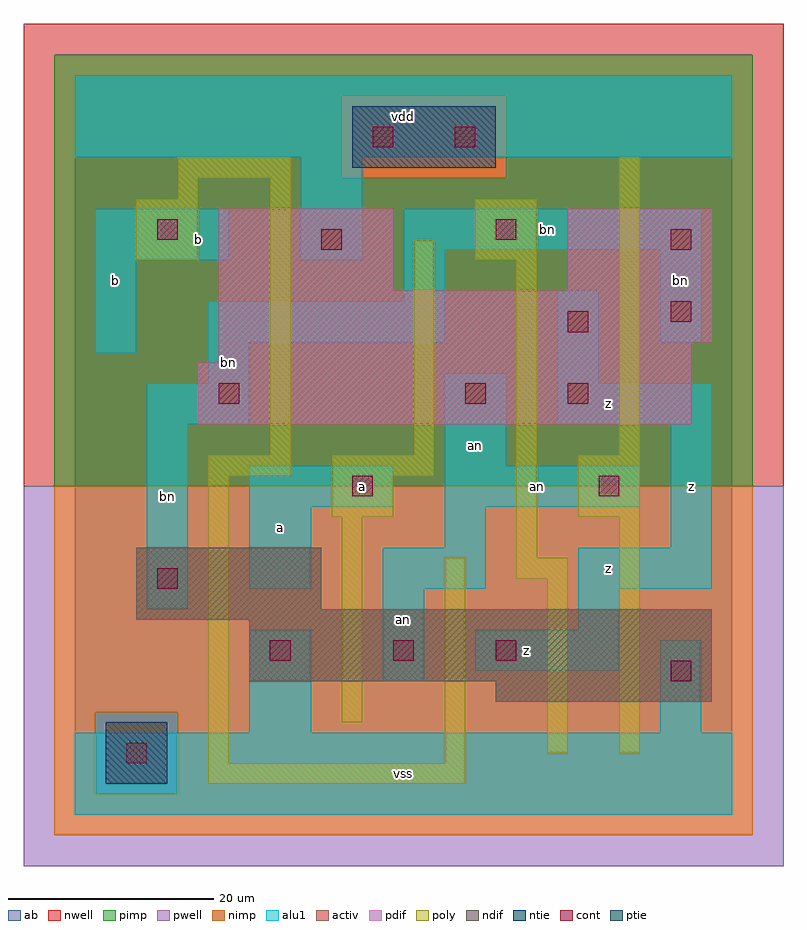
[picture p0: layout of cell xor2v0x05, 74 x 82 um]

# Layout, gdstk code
import gdstk
lib = gdstk.Library(unit=1e-6, precision=1e-09)
def R(c, l, rs):  # rectangles x0, y0, x1, y1
    for r in rs: c.add(gdstk.rectangle(r[:2], r[2:], *l))
ndif = (3, 0)
pdif = (4, 0)
ntie = (5, 0)
ptie = (6, 0)
cont = (25, 0)
pwell = (41, 0)
nwell = (42, 0)
activ = (43, 0)
pimp = (44, 0)
nimp = (45, 0)
poly = (46, 0)
alu1 = (49, 0)
ab = (63, 0)

xor2v0x05 = lib.new_cell('xor2v0x05')
R(xor2v0x05, ndif, [(41,11,62,13), (17,13,62,19), (6,19,62,20), (6,20,24,26)])
R(xor2v0x05, pdif, [(12,38,60,44), (14,44,60,46), (14,46,62,51), (14,51,31,59), (48,51,62,59)])
R(xor2v0x05, ntie, [(27,63,41,69)])
R(xor2v0x05, ptie, [(3,3,9,9)])
R(xor2v0x05, cont, [(5,5,7,7), (58,13,60,15), (19,15,21,17), (31,15,33,17), (41,15,43,17), (8,22,10,24), (27,31,29,33), (51,31,53,33), (14,40,16,42), (38,40,40,42), (48,40,50,42), (48,47,50,49), (58,48,60,50), (24,55,26,57), (58,55,60,57), (8,56,10,58), (41,56,43,58), (29,65,31,67), (37,65,39,67)])
R(xor2v0x05, pwell, [(-5,-5,69,32)])
R(xor2v0x05, nwell, [(-5,32,69,77)])
R(xor2v0x05, activ, [(3,3,9,9), (41,11,62,13), (17,13,62,19), (6,19,62,20), (6,20,24,26), (12,38,60,44), (14,44,60,46), (14,46,62,51), (14,51,31,59), (48,51,62,59), (27,63,41,69)])
R(xor2v0x05, pimp, [(2,2,10,10), (-2,32,66,62), (-2,62,26,70), (42,62,66,70), (-2,70,66,74)])
R(xor2v0x05, nimp, [(-2,-2,66,2), (-2,2,2,10), (10,2,66,10), (-2,10,66,32), (26,62,42,70)])
R(xor2v0x05, poly, [(13,3,38,5), (13,5,15,33), (36,5,38,25), (46,6,48,23), (53,6,55,29), (26,9,28,29), (43,23,48,25), (43,25,45,54), (25,29,31,33), (49,29,55,35), (13,33,21,35), (25,33,35,35), (19,35,21,62), (33,35,35,56), (53,35,55,64), (6,54,12,60), (39,54,45,60), (10,60,12,62), (10,62,21,64)])
R(xor2v0x05, alu1, [(0,0,64,8), (17,8,23,18), (57,8,61,17), (30,13,34,22), (39,14,53,18), (49,18,53,22), (7,20,11,38), (17,22,23,30), (30,22,40,26), (49,22,62,26), (36,26,40,30), (58,26,62,38), (17,30,31,34), (36,30,55,34), (36,34,42,43), (7,38,17,42), (47,38,62,42), (13,42,17,46), (47,42,51,51), (2,45,6,54), (13,46,36,50), (57,46,61,55), (32,50,36,55), (2,54,15,59), (22,54,28,64), (32,55,61,59), (0,64,64,72)])
R(xor2v0x05, ab, [(0,0,64,72)])
xor2v0x05.add(gdstk.Label('bn', (15,44), layer=49, texttype=0))
xor2v0x05.add(gdstk.Label('bn', (9,31), layer=49, texttype=0))
xor2v0x05.add(gdstk.Label('an', (32,19), layer=49, texttype=0))
xor2v0x05.add(gdstk.Label('an', (39,36), layer=49, texttype=0))
xor2v0x05.add(gdstk.Label('an', (45,32), layer=49, texttype=0))
xor2v0x05.add(gdstk.Label('bn', (59,52), layer=49, texttype=0))
xor2v0x05.add(gdstk.Label('bn', (46,57), layer=49, texttype=0))
xor2v0x05.add(gdstk.Label('b', (4,52), layer=49, texttype=0))
xor2v0x05.add(gdstk.Label('b', (12,56), layer=49, texttype=0))
xor2v0x05.add(gdstk.Label('a', (20,28), layer=49, texttype=0))
xor2v0x05.add(gdstk.Label('a', (28,32), layer=49, texttype=0))
xor2v0x05.add(gdstk.Label('vss', (32,4), layer=49, texttype=0))
xor2v0x05.add(gdstk.Label('z', (44,16), layer=49, texttype=0))
xor2v0x05.add(gdstk.Label('vdd', (32,68), layer=49, texttype=0))
xor2v0x05.add(gdstk.Label('z', (52,24), layer=49, texttype=0))
xor2v0x05.add(gdstk.Label('z', (60,32), layer=49, texttype=0))
xor2v0x05.add(gdstk.Label('z', (52,40), layer=49, texttype=0))

lib.write_gds('xor2v0x05.gds')
